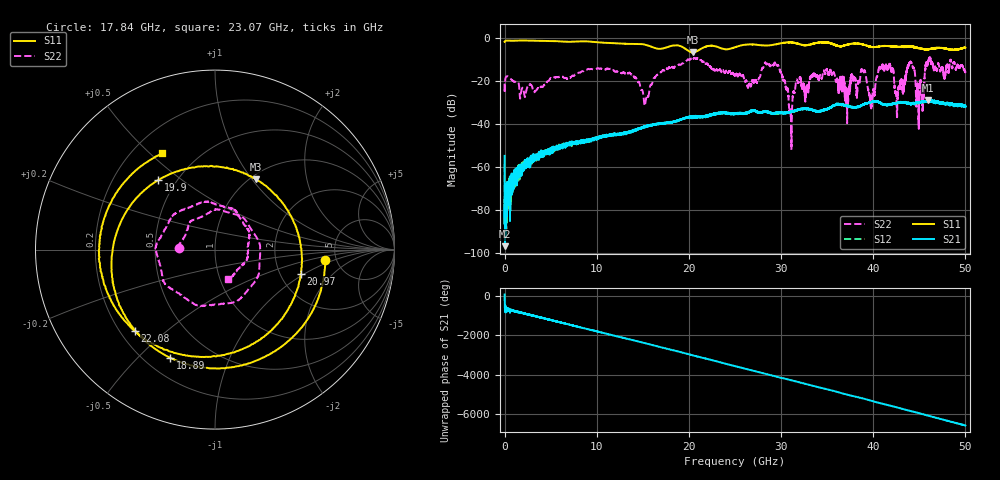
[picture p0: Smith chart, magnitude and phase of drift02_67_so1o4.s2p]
!Created with skrf (http://scikit-rf.org).
# Hz S RI R 50.0
!freq ReS11 ImS11 ReS21 ImS21 ReS12 ImS12 ReS22 ImS22
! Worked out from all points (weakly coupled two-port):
!   10001 points, 300 kHz to 50 GHz, reference 50 ohm
!   highest |S21| = -28.99 dB at 45.98 GHz (marker M1); lowest = -96.9 dB at 40.3 MHz (marker M2)
!   lowest |S11| = -6.9 dB at 20.4 GHz (marker M3), VSWR 2.64, Z = 53 + j51.9 ohm
!   |S11| at or under -10 dB: nowhere
!   |S22| runs from -52.1 to -9.1 dB; largest |S21 - S12| = 0.0032
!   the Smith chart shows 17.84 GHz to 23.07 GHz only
!   S11 on the Smith chart (normalised r, x): 17.84 GHz: 4.07, -0.74; 18.89 GHz: 0.30, -0.63; 19.9 GHz: 0.40, +0.41; 20.97 GHz: 2.60, -0.93; 22.08 GHz: 0.26, -0.40; 23.07 GHz: 0.32, +0.55
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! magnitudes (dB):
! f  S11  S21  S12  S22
! 300 kHz  -2.0  -54.9  -59.0  -21.4
! 40.3 MHz  -1.7  -96.9  -82.8  -21.4
! 8.335 GHz  -1.7  -48.3  -48.3  -15.8
! 15.33 GHz  -3.4  -41.2  -41.3  -29.0
! 16.67 GHz  -5.2  -40.0  -40.0  -17.0
! 17.84 GHz  -4.2  -39.4  -39.5  -14.0
! 18.89 GHz  -3.7  -38.5  -38.3  -12.6
! 19.9 GHz  -6.0  -37.2  -37.1  -10.1
! 20.4 GHz  -6.9  -36.9  -36.5  -10.0
! 20.97 GHz  -6.1  -36.7  -36.9  -9.7
! 22.08 GHz  -3.9  -36.3  -36.5  -12.8
! 23.07 GHz  -4.3  -35.1  -35.3  -14.9
! 25 GHz  -4.5  -35.1  -35.4  -17.6
! 29.51 GHz  -3.1  -34.8  -35.1  -12.7
! 31.04 GHz  -2.3  -34.5  -34.6  -35.0
! 33.34 GHz  -3.0  -33.6  -33.5  -18.3
! 38.91 GHz  -3.2  -31.2  -31.1  -16.2
! 39.72 GHz  -4.3  -30.0  -30.0  -31.0
! 41.67 GHz  -4.0  -31.1  -31.1  -13.1
! 45.15 GHz  -5.1  -30.1  -29.8  -22.5
! 45.98 GHz  -5.4  -29.0  -29.3  -10.8
! 50 GHz  -4.7  -31.8  -32.0  -16.2
